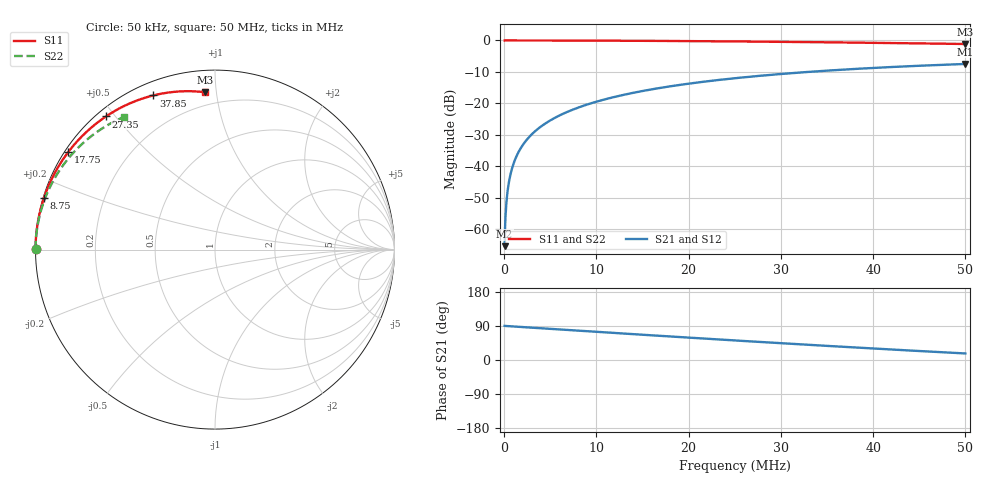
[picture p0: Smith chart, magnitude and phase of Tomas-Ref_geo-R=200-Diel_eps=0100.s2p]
! TOUCHSTONE file generated by CST MICROWAVE STUDIO
! Date and time: Wed Oct 05 21:55:14 2016
! Project name: tomas_icrh_linear_2016-plasma-Rdiel=200.cst
! Header version: 2015
! Port assignment regex: !\s*Touchstone port\s*([0-9]+)\s*=\s*CST MWS port\s*([0-9]+)\s*\(\"(.*)\"\)(\s*mode\s*([0-9]+))?.*
! Touchstone port assignment:
! Touchstone port 1 = CST MWS port 1 ("")
! Touchstone port 2 = CST MWS port 2 ("")
# MHZ S MA R 50
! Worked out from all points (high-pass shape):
!   1000 points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, 50 kHz to 50 MHz, reference 50 ohm
!   highest |S21| = -7.47 dB at 50 MHz (marker M1); lowest = -65.3 dB at 50 kHz (marker M2)
!   |S21| within 3 dB of the highest: 30.79 MHz to end of sweep
!   lowest |S11| = -1.1 dB at 50 MHz (marker M3), VSWR 15.46, Z = 6.06 + j46.5 ohm
!   |S11| at or under -10 dB: nowhere
!   |S22| runs from -0.9 to 0.0 dB; largest |S21 - S12| = 1e-06
!   S11 on the Smith chart (normalised r, x): 50 kHz: 0.00, +0.00; 8.75 MHz: 0.00, +0.15; 17.75 MHz: 0.01, +0.30; 27.35 MHz: 0.03, +0.47; 37.85 MHz: 0.06, +0.68; 50 MHz: 0.12, +0.93
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0.05  1 179.9  0.0005416 90.2  0.0005416 90.2  1 179.9
0.15  1 179.7  0.001629 89.9  0.001629 89.9  1 179.8
0.4  1 179.2  0.004346 89.4  0.004346 89.4  1 179.5
0.5  1 179.0  0.005431 89.3  0.005431 89.3  1 179.4
0.65  1 178.7  0.007059 89.0  0.007059 89.0  1 179.2
0.85  0.9999 178.4  0.009228 88.7  0.009228 88.7  0.9999 179.0
1.15  0.9999 177.8  0.01248 88.2  0.01248 88.2  0.9999 178.6
1.85  0.9998 176.4  0.02004 87.1  0.02004 87.1  0.9998 177.7
2.9  0.9995 174.4  0.03133 85.5  0.03133 85.5  0.9995 176.5
4.35  0.9988 171.6  0.04681 83.2  0.04681 83.2  0.9989 174.7
6.15  0.9977 168.2  0.06603 80.4  0.06603 80.4  0.9978 172.5
8.4  0.9958 163.9  0.08982 76.9  0.08982 76.9  0.9959 169.8
8.75  0.9954 163.2  0.0935 76.3  0.0935 76.3  0.9955 169.4
12.3  0.9911 156.5  0.1303 70.8  0.1303 70.8  0.9913 165.2
16.7  0.9839 148.3  0.1743 64.0  0.1743 64.0  0.9844 160.0
17.75  0.9818 146.4  0.1846 62.4  0.1846 62.4  0.9825 158.8
25.05  0.965 133.3  0.2518 51.5  0.2518 51.5  0.9668 150.4
27.35  0.9588 129.3  0.2715 48.2  0.2715 48.2  0.9612 147.8
33.35  0.9407 119.1  0.3194 39.6  0.3194 39.6  0.9453 141.3
37.85  0.9252 111.8  0.3517 33.3  0.3517 33.3  0.9326 136.6
41.7  0.911 105.8  0.3769 28.1  0.3769 28.1  0.9214 132.6
50  0.8785 93.6  0.4231 17.2  0.4231 17.2  0.8972 124.5
